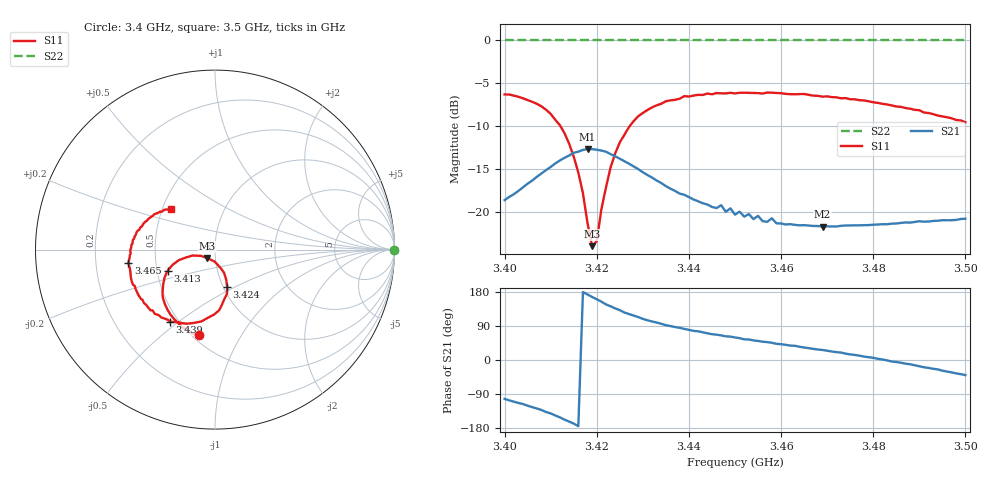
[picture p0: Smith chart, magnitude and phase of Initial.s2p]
!Created with skrf (http://scikit-rf.org).
# MHz S RI R 50.0
!freq ReS11 ImS11 ReS21 ImS21 ReS12 ImS12 ReS22 ImS22
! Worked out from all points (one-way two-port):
!   101 points, 3.4 GHz to 3.5 GHz, reference 50 ohm
!   highest |S21| = -12.66 dB at 3.418 GHz (marker M1); lowest = -21.7 dB at 3.469 GHz (marker M2)
!   lowest |S11| = -24.0 dB at 3.419 GHz (marker M3), VSWR 1.14, Z = 45.8 - j4.37 ohm
!   |S11| at or under -10 dB: 3.41213 GHz to 3.427124 GHz (14.99 MHz wide, 0.438 % of centre)
!   |S22| runs from 0.0 to 0.0 dB; largest |S21 - S12| = 0.23
!   S11 on the Smith chart (normalised r, x): 3.4 GHz: 0.54, -0.68; 3.413 GHz: 0.57, -0.14; 3.424 GHz: 1.04, -0.46; 3.439 GHz: 0.45, -0.47; 3.465 GHz: 0.35, -0.07; 3.5 GHz: 0.56, +0.29
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3400  -0.0876 -0.4768  -0.0257 -0.1146  0 0  1 0
3408  -0.2791 -0.3044  -0.1121 -0.125  0 0  1 0
3413  -0.2635 -0.1167  -0.1913 -0.0793  0 0  1 0
3415  -0.2018 -0.0591  -0.2166 -0.0467  0 0  1 0
3417  -0.1243 -0.0331  -0.2302 0.00257  0 0  1 0
3418  -0.0786 -0.0347  -0.231 0.029  0 0  1 0
3419  -0.0418 -0.0475  -0.226 0.0552  0 0  1 0
3420  -0.000513 -0.0677  -0.2172 0.0776  0 0  1 0
3421  0.029 -0.0997  -0.2051 0.1003  0 0  1 0
3423  0.0632 -0.1708  -0.1708 0.135  0 0  1 0
3424  0.0677 -0.209  -0.1526 0.1462  0 0  1 0
3428  0.0229 -0.338  -0.0844 0.1641  0 0  1 0
3434  -0.1244 -0.4094  -0.0142 0.147  0 0  1 0
3439  -0.2506 -0.402  0.0176 0.1248  0 0  1 0
3448  -0.3826 -0.3085  0.0464 0.0891  0 0  1 0
3449  -0.3954 -0.2984  0.0498 0.0925  0 0  1 0
3450  -0.4032 -0.2811  0.049 0.0833  0 0  1 0
3465  -0.4821 -0.072  0.0704 0.0458  0 0  1 0
3467  -0.4752 -0.0396  0.0724 0.0406  0 0  1 0
3469  -0.4697 -0.0221  0.0736 0.0366  0 0  1 0
3484  -0.3885 0.1555  0.0854 -0.00585  0 0  1 0
3500  -0.2431 0.2285  0.0703 -0.0586  0 0  1 0
